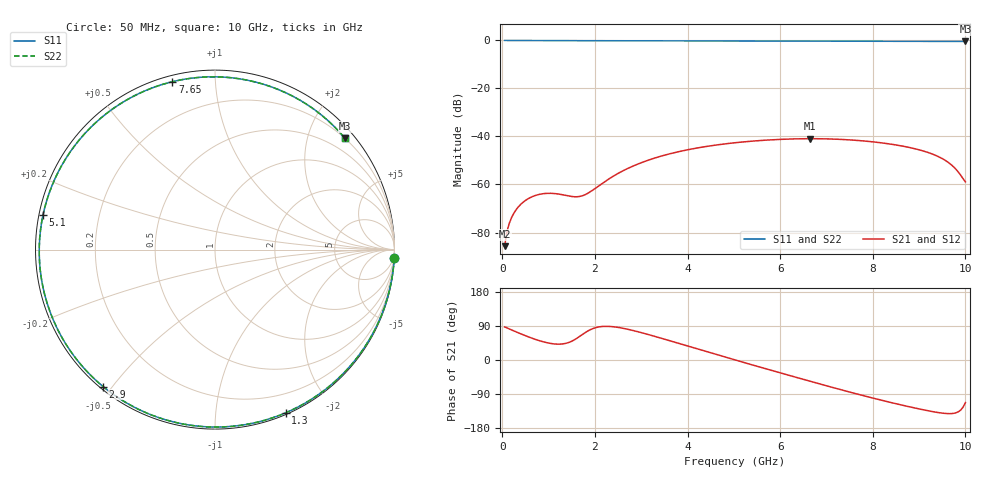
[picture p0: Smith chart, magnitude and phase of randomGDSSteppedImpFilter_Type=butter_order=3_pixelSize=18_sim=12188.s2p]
! freq	dB(S11)	phase(S11)	dB(S12)	phase(S12)
!  dB(S21)	phase(S21)	dB(S22)	phase(S22)
!S-par simulation data
#  GHz  S  DB  R 50
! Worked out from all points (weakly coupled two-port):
!   200 points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, 50 MHz to 10 GHz, reference 50 ohm
!   highest |S21| = -40.92 dB at 6.65 GHz (marker M1); lowest = -85.7 dB at 50 MHz (marker M2)
!   lowest |S11| = -0.4 dB at 10 GHz (marker M3), VSWR 41.99, Z = 9.86 + j135 ohm
!   |S11| at or under -10 dB: nowhere
!   |S22| runs from -0.4 to 0.0 dB; largest |S21 - S12| = 0
!   S11 on the Smith chart (normalised r, x): 50 MHz: 0, -42; 1.3 GHz: 0.02, -1.52; 2.9 GHz: 0.01, -0.47; 5.1 GHz: 0.01, +0.10; 7.65 GHz: 0.03, +0.78; 10 GHz: 0.20, +2.69
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0.05  -0.00 -2.7  -85.69 87.3  -85.69 87.3  -0.00 -2.7
0.1  -0.01 -5.5  -79.70 84.7  -79.70 84.7  -0.01 -5.5
0.15  -0.01 -8.2  -76.23 82.0  -76.23 82.0  -0.01 -8.2
0.25  -0.02 -13.5  -71.94 76.7  -71.94 76.7  -0.02 -13.5
0.5  -0.04 -26.8  -66.65 64.1  -66.65 64.1  -0.04 -26.8
0.85  -0.06 -44.8  -63.93 49.2  -63.93 49.2  -0.06 -44.8
1.3  -0.08 -66.6  -64.27 42.4  -64.27 42.4  -0.08 -66.6
1.75  -0.10 -86.5  -64.55 69.0  -64.55 69.0  -0.10 -86.5
2.25  -0.11 -106.4  -58.34 88.9  -58.34 88.9  -0.11 -106.4
2.9  -0.13 -129.2  -51.70 75.5  -51.70 75.5  -0.13 -129.2
3.4  -0.14 -145.0  -48.35 58.6  -48.35 58.6  -0.14 -144.9
4.2  -0.17 -167.8  -44.82 29.7  -44.82 29.7  -0.17 -167.8
5.05  -0.20 169.9  -42.56 -0.7  -42.56 -0.7  -0.20 169.9
5.1  -0.20 168.6  -42.46 -2.5  -42.46 -2.5  -0.20 168.6
5.85  -0.23 149.7  -41.35 -28.7  -41.35 -28.7  -0.23 149.8
6.65  -0.26 129.7  -40.92 -56.2  -40.92 -56.2  -0.26 129.8
6.7  -0.27 128.5  -40.92 -57.9  -40.92 -57.9  -0.27 128.6
7.65  -0.31 104.3  -41.62 -89.4  -41.62 -89.4  -0.31 104.4
8.35  -0.34 85.8  -43.08 -111.0  -43.08 -111.0  -0.34 86.0
9.45  -0.38 55.9  -48.70 -139.4  -48.70 -139.4  -0.38 56.1
9.75  -0.40 47.5  -52.74 -140.7  -52.74 -140.7  -0.40 47.7
10  -0.41 40.6  -58.90 -112.7  -58.90 -112.7  -0.41 40.8
